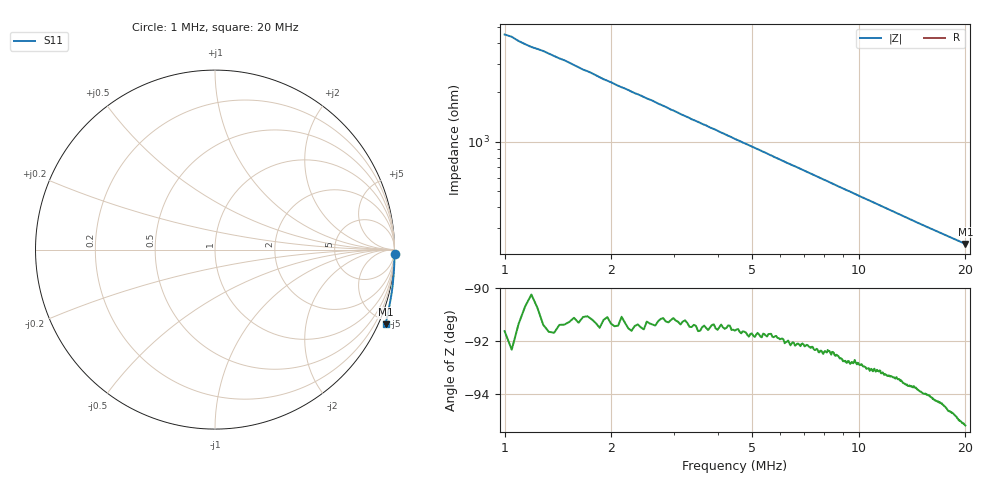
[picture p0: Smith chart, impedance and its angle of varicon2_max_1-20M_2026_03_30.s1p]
# HZ S RI R 50
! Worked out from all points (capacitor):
!   401 points, 1 MHz to 20 MHz, reference 50 ohm
!   read as one part to ground: C = 34.6 pF near 1.095 MHz
!   lowest |Z| = 238 ohm at 20 MHz (marker M1)
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1000000  1 -0.0222
1095000  1 -0.0243
1427500  1 -0.031
1997500  1 -0.0434
2377500  0.9999 -0.0513
2710000  0.9996 -0.0584
3375000  0.9992 -0.0729
4990000  0.9975 -0.1068
5750000  0.9964 -0.1232
6510000  0.9953 -0.1391
7650000  0.9933 -0.1632
8125000  0.9924 -0.1731
9122500  0.9905 -0.1944
9835000  0.9884 -0.2092
1.05e7  0.9869 -0.2232
1.20675e7  0.982 -0.2559
1.2875e7  0.9791 -0.2725
1.354e7  0.9769 -0.2866
1.4395e7  0.9735 -0.3041
1.525e7  0.9703 -0.3214
1.62e7  0.9663 -0.3406
1.6865e7  0.9636 -0.3534
1.7625e7  0.9605 -0.3686
1.791e7  0.9596 -0.3742
1.829e7  0.9577 -0.3815
1.91925e7  0.9541 -0.3996
1.9905e7  0.9507 -0.4134
2e7  0.9504 -0.4152
